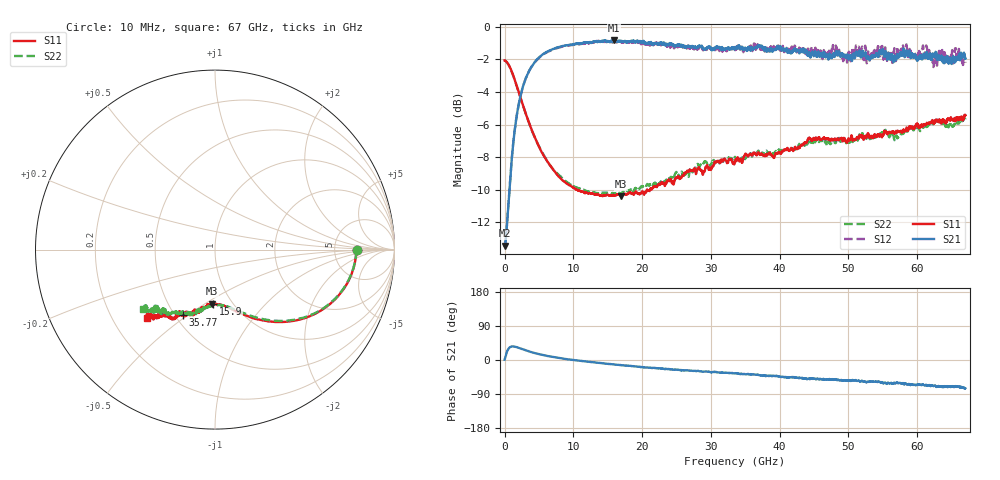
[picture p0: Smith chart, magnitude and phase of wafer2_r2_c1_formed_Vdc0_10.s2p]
!Keysight Technologies,N5227A,US51270248,A.10.65.08
!Date: Tuesday, June 11, 2024 07:35:25
!Correction: S11(Full 2 Port(1,4))
!S41(Full 2 Port(1,4))
!S14(Full 2 Port(1,4))
!S44(Full 2 Port(1,4))
!S2P File: Measurements: S11, S41, S14, S44:
# Hz S  dB  R 50
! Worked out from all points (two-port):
!   3201 points, 10 MHz to 67 GHz, reference 50 ohm
!   highest |S21| = -0.84 dB at 15.88 GHz (marker M1); lowest = -13.4 dB at 10 MHz (marker M2)
!   |S21| within 3 dB of the highest: 2.561 GHz to end of sweep
!   lowest |S11| = -10.4 dB at 16.97 GHz (marker M3), VSWR 1.87, Z = 40.3 - j26.7 ohm
!   |S11| at or under -10 dB: 10.56 GHz to 20.69 GHz (10.12 GHz wide, 64.8 % of centre); 20.75 GHz to 21.13 GHz (379.5 MHz wide, 1.81 % of centre)
!   |S22| runs from -10.3 to -2.1 dB; largest |S21 - S12| = 0.096
!   S11 on the Smith chart (normalised r, x): 10 MHz: 8.46, -0.19; 15.9 GHz: 0.82, -0.55; 35.77 GHz: 0.55, -0.48; 67 GHz: 0.35, -0.37
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1e7  -2.06 -0.3  -13.43 0.9  -13.45 1.0  -2.06 -0.2
1.475406e9  -3.24 -28.7  -6.35 35.3  -6.35 35.1  -3.25 -28.3
3.087353e9  -5.32 -48.2  -3.16 25.5  -3.16 25.4  -5.33 -47.2
6.122838e9  -8.20 -67.1  -1.54 11.0  -1.57 10.9  -8.17 -65.3
1.118896e10  -10.10 -82.5  -1.00 -2.5  -1.05 -2.6  -9.95 -80.9
1.587826e10  -10.35 -92.0  -0.84 -11.6  -0.91 -11.2  -10.24 -91.1
1.589919e10  -10.32 -91.9  -0.87 -12.0  -0.89 -11.4  -10.22 -91.0
1.696684e10  -10.40 -93.5  -0.85 -13.6  -0.96 -13.6  -10.23 -92.3
2.234698e10  -9.69 -99.3  -1.06 -21.7  -1.05 -21.3  -9.72 -100.1
3.3505e10  -8.23 -112.7  -1.33 -34.8  -1.42 -34.8  -7.99 -116.8
3.576591e10  -7.79 -116.4  -1.48 -37.6  -1.24 -36.5  -7.75 -118.3
4.468396e10  -6.89 -122.8  -1.61 -49.2  -1.30 -48.2  -7.03 -126.2
5.012689e10  -6.98 -126.7  -1.90 -54.0  -1.56 -53.1  -7.06 -130.5
5.173884e10  -6.70 -127.4  -1.77 -57.1  -1.83 -54.7  -6.77 -131.5
5.297397e10  -6.65 -129.4  -1.90 -57.9  -1.50 -57.1  -6.69 -134.3
5.460685e10  -6.69 -129.8  -1.44 -58.4  -1.81 -56.7  -6.57 -133.5
5.584198e10  -6.47 -129.3  -1.69 -60.5  -1.80 -60.4  -6.73 -135.7
5.728645e10  -6.44 -129.9  -1.84 -61.3  -1.62 -61.2  -6.75 -134.1
6.153613e10  -5.93 -131.6  -1.96 -67.8  -1.68 -68.2  -6.09 -136.8
6.264565e10  -5.74 -131.3  -1.62 -67.7  -1.91 -68.3  -5.84 -138.3
6.375517e10  -5.77 -133.9  -1.85 -71.0  -1.64 -70.5  -5.89 -140.7
6.7e10  -5.41 -134.6  -1.95 -74.6  -2.20 -75.1  -5.69 -140.6
